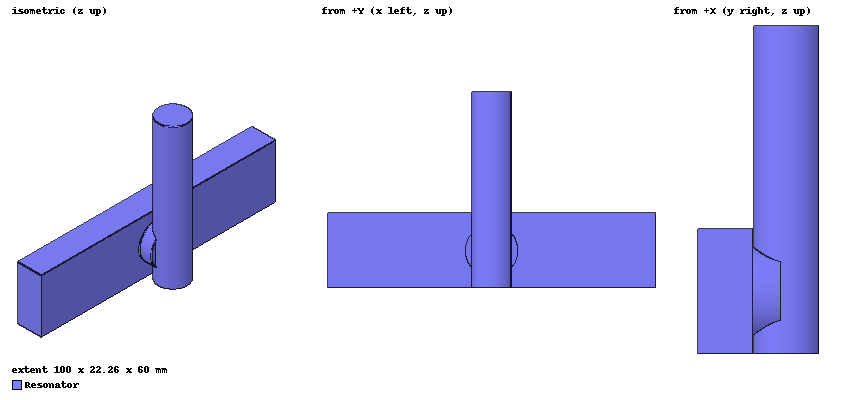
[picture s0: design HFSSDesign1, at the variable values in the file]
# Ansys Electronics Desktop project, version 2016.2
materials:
  vacuum: permittivity=1

design HFSSDesign1 (HFSS, DrivenModal, model units mm)
options: Calculate_Lossy_Dielectrics
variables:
  Lw = 100mm
  b = 10.16mm
  a = 22.86mm
  r_aperture = 8mm
  h_aperture = 0.1mm
  d = 60mm
  r_cavity = 6mm
  delta = 5mm
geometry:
  WG = box(corner=(-Lw/2, -b/2, 0mm), size=(Lw, b, a))
  Gap = cylinder(axis=Y, base_centre=(0, b/2, a/2), radius=r_aperture, height=h_aperture + delta)
  Resonator [vacuum] = cylinder(axis=Z, base_centre=(0mm, b/2 + h_aperture+r_cavity, 0mm), radius=r_cavity, height=d)
  Resonator.unite(Gap, WG)
  Rectangle1 [non-model] = rectangle(corner=(0mm, -b/2, 0), y_size=h_aperture+2*r_cavity+b, z_size=d)
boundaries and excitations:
  PEC: Perfect E Faces=Resonator.face(1 of 6, 2 of 6, 3 of 6, 1 of 3, 2 of 3, 3 of 3)
  1: Wave Port Faces=Resonator.face(4 of 6) NumModes=1 Modes{Mode1{IntLine{middle of Resonator.edge(9 of 12) -> middle of Resonator.edge(11 of 12)} CharImp=Zpi}}
  2: Wave Port Faces=Resonator.face(6 of 6) NumModes=1 Modes{Mode1{IntLine{middle of Resonator.edge(10 of 12) -> middle of Resonator.edge(12 of 12)} CharImp=Zpi}}
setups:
  Setup1: HfssDriven Frequency=10GHz MaxDeltaS=0.02 MaximumPasses=6 MinimumPasses=1 MinimumConvergedPasses=1 PercentRefinement=30 BasisOrder=1 PortAccuracy=2
    sweep Sweep: 8GHz to 12.5GHz step 1MHz; Type=Interpolating InterpTolerance=0.5 InterpMaxSolns=250 InterpUsePortImped=false
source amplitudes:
  1:1: 1W 0deg
  2:1: 0W 0deg
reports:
  XY Plot 1: dB(S(2,1)) vs Freq on Setup1 : Sweep
